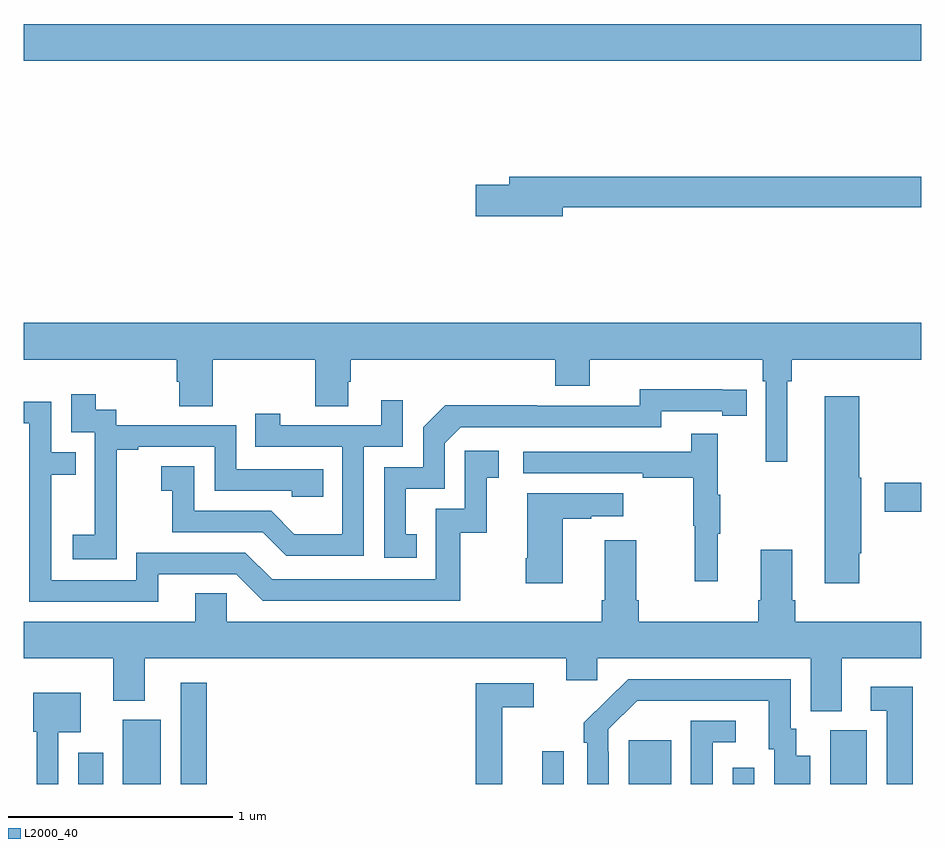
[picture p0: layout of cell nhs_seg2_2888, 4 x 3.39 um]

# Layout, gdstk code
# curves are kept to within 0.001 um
import gdstk
lib = gdstk.Library(unit=1e-6, precision=1e-09)
def R(c, l, rs):  # rectangles x0, y0, x1, y1
    for r in rs: c.add(gdstk.rectangle(r[:2], r[2:], *l))
def P(c, l, *ps):  # polygons
    for p in ps: c.add(gdstk.Polygon(p, *l))
L2000_40 = (2000, 40)

nhs_seg2_2888 = lib.new_cell('nhs_seg2_2888')
R(nhs_seg2_2888, L2000_40, [(263.243,589.8,263.353,589.939), (263.441,589.8,263.611,590.086), (263.7,589.8,263.816,590.251), (265.311,589.8,265.407,589.945), (265.697,589.8,265.885,589.996), (266.16,589.8,266.256,589.873), (266.594,589.8,266.758,590.04), (266.838,591.013,267,591.142), (263,593.024,267,593.188)])
P(nhs_seg2_2888, L2000_40, [(265.402,592.372),(267,592.372),(267,592.508),(265.163,592.508),(265.163,592.472),(265.014,592.472),(265.014,592.33),(265.402,592.33)],
  [(266.404,591.596),(266.423,591.596),(266.423,591.692),(267,591.692),(267,591.856),(263,591.856),(263,591.692),(263.681,591.692),(263.681,591.594),(263.693,591.594),(263.693,591.484),(263.841,591.484),(263.841,591.692),(264.298,591.692),(264.298,591.484),(264.445,591.484),(264.445,591.594),(264.458,591.594),(264.458,591.692),(265.37,591.692),(265.37,591.575),(265.522,591.575),(265.522,591.692),(266.294,591.692),(266.294,591.596),(266.307,591.596),(266.307,591.237),(266.404,591.237)],
  [(264.752,590.913),(264.703,590.913),(264.703,591.117),(264.876,591.117),(264.876,591.318),(264.948,591.39),(265.842,591.39),(265.842,591.462),(266.114,591.462),(266.114,591.442),(266.222,591.442),(266.222,591.558),(265.746,591.559),(265.746,591.486),(265.286,591.486),(265.286,591.488),(264.878,591.488),(264.78,591.39),(264.78,591.213),(264.606,591.213),(264.606,590.808),(264.752,590.808)],
  [(263.415,591.007),(263.414,591.007),(263.414,591.291),(263.509,591.291),(263.509,591.303),(263.85,591.303),(263.85,591.108),(264.195,591.108),(264.195,591.081),(264.335,591.081),(264.335,591.204),(263.946,591.204),(263.946,591.399),(263.412,591.399),(263.412,591.468),(263.32,591.468),(263.32,591.538),(263.211,591.538),(263.211,591.369),(263.316,591.369),(263.316,591.14),(263.315,591.14),(263.315,590.911),(263.217,590.911),(263.217,590.801),(263.415,590.801)],
  [(266.724,590.829),(266.734,590.829),(266.734,591.165),(266.724,591.165),(266.724,591.529),(266.57,591.529),(266.57,590.694),(266.724,590.694)],
  [(264.516,591.303),(264.69,591.303),(264.69,591.511),(264.593,591.511),(264.593,591.399),(264.142,591.399),(264.142,591.451),(264.031,591.451),(264.031,591.303),(264.42,591.303),(264.42,590.914),(264.206,590.914),(264.102,591.018),(263.76,591.018),(263.76,591.217),(263.613,591.217),(263.613,591.107),(263.662,591.107),(263.662,590.922),(264.065,590.922),(264.17,590.817),(264.516,590.817)],
  [(263.599,590.736),(263.946,590.736),(264.066,590.616),(264.946,590.616),(264.946,590.919),(265.064,590.919),(265.064,591.165),(265.117,591.165),(265.117,591.286),(264.966,591.286),(264.966,591.027),(264.837,591.027),(264.837,590.712),(264.108,590.712),(263.988,590.832),(263.502,590.832),(263.502,590.709),(263.121,590.709),(263.121,591.178),(263.231,591.178),(263.231,591.279),(263.121,591.279),(263.121,591.504),(263,591.504),(263,591.408),(263.025,591.408),(263.025,590.613),(263.599,590.613)],
  [(266.093,590.915),(266.104,590.915),(266.104,591.089),(266.093,591.089),(266.093,591.361),(265.975,591.361),(265.975,591.282),(265.227,591.282),(265.227,591.186),(265.759,591.186),(265.759,591.166),(265.983,591.166),(265.983,590.952),(265.99,590.952),(265.99,590.703),(266.093,590.703)],
  [(265.402,590.983),(265.529,590.983),(265.529,590.993),(265.672,590.993),(265.672,591.097),(265.244,591.097),(265.244,590.806),(265.237,590.806),(265.237,590.694),(265.402,590.694)],
  [(266.647,590.36),(267,590.36),(267,590.524),(266.438,590.524),(266.438,590.62),(266.425,590.62),(266.425,590.845),(266.285,590.845),(266.285,590.62),(266.273,590.62),(266.273,590.524),(265.742,590.524),(265.742,590.62),(265.729,590.62),(265.729,590.887),(265.589,590.887),(265.589,590.62),(265.577,590.62),(265.577,590.524),(263.904,590.524),(263.904,590.651),(263.765,590.651),(263.765,590.524),(263,590.524),(263,590.36),(263.399,590.36),(263.399,590.171),(263.539,590.171),(263.539,590.36),(265.418,590.36),(265.418,590.262),(265.557,590.262),(265.557,590.36),(266.507,590.36),(266.507,590.125),(266.647,590.125)],
  [(265.608,589.943),(265.605,589.943),(265.605,590.043),(265.734,590.172),(266.321,590.172),(266.321,589.956),(266.345,589.956),(266.345,589.8),(266.506,589.8),(266.506,589.927),(266.443,589.927),(266.443,590.046),(266.418,590.046),(266.418,590.268),(265.694,590.268),(265.497,590.073),(265.497,589.985),(265.512,589.985),(265.512,589.8),(265.608,589.8)],
  [(265.133,590.142),(265.273,590.142),(265.273,590.25),(265.015,590.25),(265.015,589.8),(265.133,589.8)],
  [(266.963,590.233),(266.775,590.233),(266.775,590.127),(266.847,590.127),(266.847,589.8),(266.963,589.8)],
  [(263.154,590.03),(263.254,590.03),(263.254,590.206),(263.042,590.206),(263.042,590.034),(263.058,590.034),(263.058,589.8),(263.154,589.8)],
  [(266.07,589.986),(266.173,589.986),(266.173,590.082),(265.974,590.082),(265.974,589.8),(266.07,589.8)])

lib.write_gds('nhs_seg2_2888.gds')
